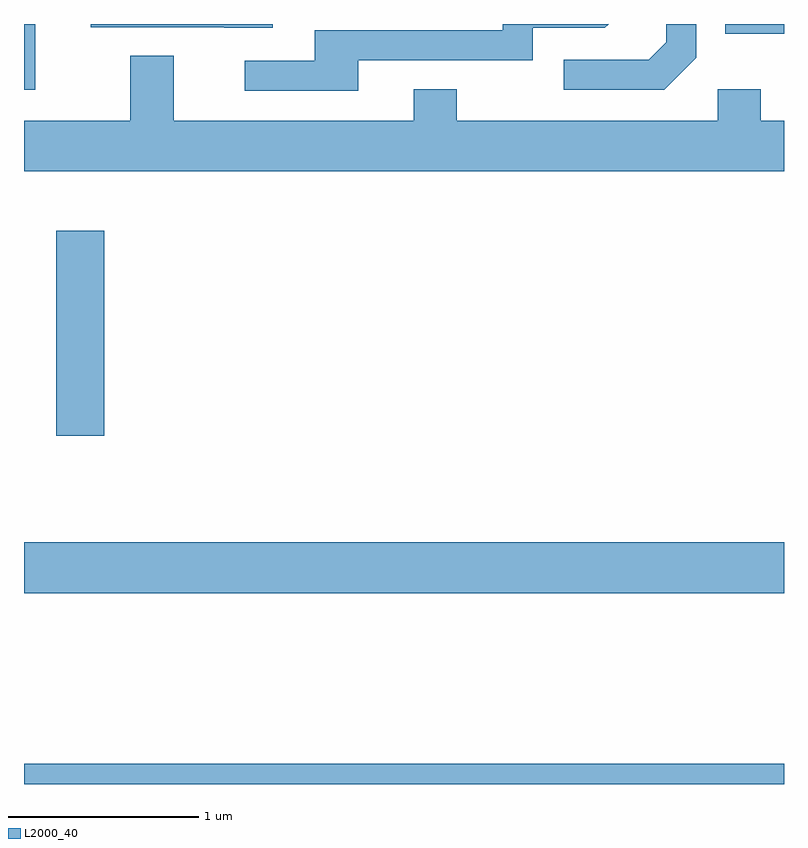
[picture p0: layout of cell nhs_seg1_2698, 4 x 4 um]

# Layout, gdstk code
import gdstk
lib = gdstk.Library(unit=1e-6, precision=1e-09)
def R(c, l, rs):  # rectangles x0, y0, x1, y1
    for r in rs: c.add(gdstk.rectangle(r[:2], r[2:], *l))
def P(c, l, *ps):  # polygons
    for p in ps: c.add(gdstk.Polygon(p, *l))
L2000_40 = (2000, 40)

nhs_seg1_2698 = lib.new_cell('nhs_seg1_2698')
R(nhs_seg1_2698, L2000_40, [(267.611,869.712,271.611,869.819), (267.611,870.716,271.611,870.984), (267.781,871.546,268.034,872.624), (267.611,873.366,267.669,873.712), (271.301,873.661,271.611,873.712)])
P(nhs_seg1_2698, L2000_40, [(268.919,873.712),(267.961,873.712),(267.961,873.696),(268.665,873.696),(268.665,873.691),(268.919,873.691)],
  [(269.369,873.521),(270.289,873.521),(270.289,873.691),(270.667,873.691),(270.688,873.712),(270.131,873.712),(270.131,873.679),(269.141,873.679),(269.141,873.519),(268.773,873.519),(268.773,873.361),(269.369,873.361)],
  [(271.149,873.534),(271.149,873.712),(270.991,873.712),(270.991,873.617),(270.899,873.524),(270.453,873.524),(270.453,873.366),(270.982,873.366)],
  [(271.611,873.204),(271.489,873.204),(271.489,873.369),(271.261,873.369),(271.261,873.204),(269.889,873.204),(269.889,873.369),(269.661,873.369),(269.661,873.204),(268.399,873.204),(268.399,873.544),(268.171,873.544),(268.171,873.204),(267.611,873.204),(267.611,872.936),(271.611,872.936)])

lib.write_gds('nhs_seg1_2698.gds')
